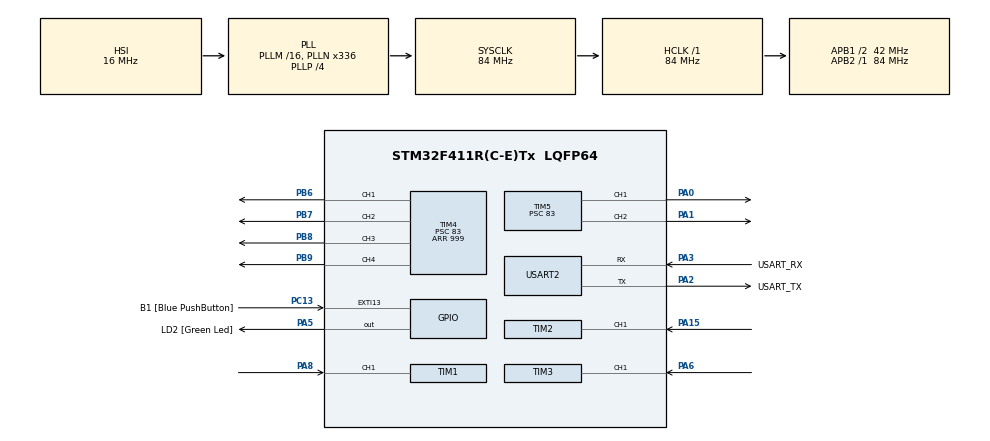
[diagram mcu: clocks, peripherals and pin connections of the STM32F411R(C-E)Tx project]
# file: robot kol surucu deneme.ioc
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Mcu.Family=STM32F4
Mcu.Name=STM32F411R(C-E)Tx
Mcu.Package=LQFP64
NVIC.PriorityGroup=NVIC_PRIORITYGROUP_0
NVIC.TIM1_CC_IRQn=true\:0\:0\:false\:false\:true\:true\:true\:true
NVIC.TIM2_IRQn=true\:0\:0\:false\:false\:true\:true\:true\:true
NVIC.TIM3_IRQn=true\:0\:0\:false\:false\:true\:true\:true\:true
PA0-WKUP.Signal=S_TIM5_CH1
PA1.Signal=S_TIM5_CH2
PA13.GPIO_Label=TMS
PA13.Mode=Serial_Wire
PA13.Signal=SYS_JTMS-SWDIO
PA14.GPIO_Label=TCK
PA14.Mode=Serial_Wire
PA14.Signal=SYS_JTCK-SWCLK
PA15.Signal=S_TIM2_CH1_ETR
PA2.GPIO_Label=USART_TX
PA2.Mode=Asynchronous
PA2.Signal=USART2_TX
PA3.GPIO_Label=USART_RX
PA3.Mode=Asynchronous
PA3.Signal=USART2_RX
PA5.GPIO_Label=LD2 [Green Led]
PA5.Signal=GPIO_Output
PA6.Signal=S_TIM3_CH1
PA8.Signal=S_TIM1_CH1
PB3.GPIO_Label=SWO
PB3.Signal=SYS_JTDO-SWO
PB6.Signal=S_TIM4_CH1
PB7.Signal=S_TIM4_CH2
PB8.Signal=S_TIM4_CH3
PB9.Signal=S_TIM4_CH4
PC13-ANTI_TAMP.GPIO_Label=B1 [Blue PushButton]
PC13-ANTI_TAMP.GPIO_ModeDefaultEXTI=GPIO_MODE_IT_FALLING
PC13-ANTI_TAMP.Signal=GPXTI13
PC14-OSC32_IN.Mode=LSE-External-Oscillator
PC14-OSC32_IN.Signal=RCC_OSC32_IN
PC15-OSC32_OUT.Mode=LSE-External-Oscillator
PC15-OSC32_OUT.Signal=RCC_OSC32_OUT
PH0\ -\ OSC_IN.Mode=HSE-External-Clock-Source
PH0\ -\ OSC_IN.Signal=RCC_OSC_IN
PH1\ -\ OSC_OUT.Mode=HSE-External-Clock-Source
PH1\ -\ OSC_OUT.Signal=RCC_OSC_OUT
ProjectManager.HeapSize=0x200
ProjectManager.StackSize=0x400
ProjectManager.TargetToolchain=STM32CubeIDE
RCC.48MHZClocksFreq_Value=84000000
RCC.AHBFreq_Value=84000000
RCC.APB1CLKDivider=RCC_HCLK_DIV2
RCC.APB1Freq_Value=42000000
RCC.APB1TimFreq_Value=84000000
RCC.APB2Freq_Value=84000000
RCC.APB2TimFreq_Value=84000000
RCC.CortexFreq_Value=84000000
RCC.FLatency-AdvancedSettings=FLASH_LATENCY_2
RCC.HCLKFreq_Value=84000000
RCC.HSE_VALUE=8000000
RCC.HSI_VALUE=16000000
RCC.PLLN=336
RCC.PLLP=RCC_PLLP_DIV4
RCC.SYSCLKFreq_VALUE=84000000
RCC.SYSCLKSource=RCC_SYSCLKSOURCE_PLLCLK
RCC.VCOOutputFreq_Value=336000000
SH.S_TIM1_CH1.0=TIM1_CH1,PWM_Input_1
SH.S_TIM2_CH1_ETR.0=TIM2_CH1,PWM_Input_1
SH.S_TIM3_CH1.0=TIM3_CH1,PWM_Input_1
SH.S_TIM4_CH1.0=TIM4_CH1,PWM Generation1 CH1
SH.S_TIM4_CH2.0=TIM4_CH2,PWM Generation2 CH2
SH.S_TIM4_CH3.0=TIM4_CH3,PWM Generation3 CH3
SH.S_TIM4_CH4.0=TIM4_CH4,PWM Generation4 CH4
SH.S_TIM5_CH1.0=TIM5_CH1,PWM Generation1 CH1
SH.S_TIM5_CH2.0=TIM5_CH2,PWM Generation2 CH2
TIM1.Prescaler=49
TIM3.Prescaler=49
TIM4.Channel-PWM\ Generation1\ CH1=TIM_CHANNEL_1
TIM4.Channel-PWM\ Generation2\ CH2=TIM_CHANNEL_2
TIM4.Channel-PWM\ Generation3\ CH3=TIM_CHANNEL_3
TIM4.Channel-PWM\ Generation4\ CH4=TIM_CHANNEL_4
TIM4.Period=999
TIM4.Prescaler=83
TIM5.Channel-PWM\ Generation1\ CH1=TIM_CHANNEL_1
TIM5.Channel-PWM\ Generation2\ CH2=TIM_CHANNEL_2
TIM5.Period=999
TIM5.Prescaler=83
USART2.VirtualMode=VM_ASYNC
VP_TIM1_VS_ClockSourceINT.Mode=Internal
VP_TIM2_VS_ClockSourceINT.Mode=Internal
VP_TIM3_VS_ClockSourceINT.Mode=Internal
board=NUCLEO-F411RE

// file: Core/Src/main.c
/* USER CODE BEGIN Header */
/**
  ******************************************************************************
  * @file           : main.c
  * @brief          : Main program body
  ******************************************************************************
  * @attention
  *
  * Copyright (c) 2025 STMicroelectronics.
  * All rights reserved.
  *
  * This software is licensed under terms that can be found in the LICENSE file
  * in the root directory of this software component.
  * If no LICENSE file comes with this software, it is provided AS-IS.
  *
  ******************************************************************************
  */
/* USER CODE END Header */
#include "main.h"

/* USER CODE BEGIN Includes */
#include "math.h"
#include "stdio.h"
#include "string.h"
/* USER CODE END Includes */

TIM_HandleTypeDef htim1;
TIM_HandleTypeDef htim2;
TIM_HandleTypeDef htim3;
TIM_HandleTypeDef htim4;
TIM_HandleTypeDef htim5;

UART_HandleTypeDef huart2;

/* USER CODE BEGIN PV */
int32_t frequency1, duty_cycle1, capture_value1;
int32_t capture_value2,frequency2, duty_cycle2;
int32_t  duty_cycle3,capture_value3,frequency3;
void HAL_TIM_IC_CaptureCallback(TIM_HandleTypeDef *htim) {// -250 ile 250 arasında veriyo olması lazım

	if (htim->Instance == TIM1) {  // For forward and backwards
		        if (htim->Channel == HAL_TIM_ACTIVE_CHANNEL_1) {
		            capture_value1 = HAL_TIM_ReadCapturedValue(htim, TIM_CHANNEL_1);
		            if (capture_value1) {
		                frequency1 = SystemCoreClock / capture_value1;
		                duty_cycle1 = ((10000 * HAL_TIM_ReadCapturedValue(htim, TIM_CHANNEL_2)) / capture_value1) -750;
		            }
		        }
		    }
	if (htim->Instance == TIM2) {  // For left and right
		        if (htim->Channel == HAL_TIM_ACTIVE_CHANNEL_1) {
		            capture_value2 = HAL_TIM_ReadCapturedValue(htim, TIM_CHANNEL_1);
		            if (capture_value2) {
		                frequency2 = SystemCoreClock / capture_value2;
		                duty_cycle2 = ((10000 * HAL_TIM_ReadCapturedValue(htim, TIM_CHANNEL_2)) / capture_value2) -750;
		            }
		        }
		    }
	if (htim->Instance == TIM3) {  // For left and right
			        if (htim->Channel == HAL_TIM_ACTIVE_CHANNEL_1) {
			            capture_value3 = HAL_TIM_ReadCapturedValue(htim, TIM_CHANNEL_1);
			            if (capture_value3) {
			                frequency3 = SystemCoreClock / capture_value3;
			                duty_cycle3 = ((10000 * HAL_TIM_ReadCapturedValue(htim, TIM_CHANNEL_2)) / capture_value3) -750;
			            }
			        }
			    }
}
/* --- PWM Ayarı --- */
void setPWM(TIM_HandleTypeDef *htim1, uint32_t channel1, uint32_t channel2, int16_t pwmvalue) {

	if (pwmvalue >= 10 && pwmvalue <= 1000) {
        __HAL_TIM_SET_COMPARE(htim1, channel1, fabs(pwmvalue));
        __HAL_TIM_SET_COMPARE(htim1, channel2, 0);
    }

    else if(pwmvalue >= -1000 && pwmvalue < -10 ) {
        __HAL_TIM_SET_COMPARE(htim1, channel1, 0);
        __HAL_TIM_SET_COMPARE(htim1, channel2, fabs(pwmvalue));
    }

    else if(pwmvalue > 1000 ) {
        __HAL_TIM_SET_COMPARE(htim1, channel1, 1000);
        __HAL_TIM_SET_COMPARE(htim1, channel2, 0);
    }

    else if(pwmvalue < -1000 ) {
        __HAL_TIM_SET_COMPARE(htim1, channel1, 0);
        __HAL_TIM_SET_COMPARE(htim1, channel2, 1000);
    }

    else {

    }
}

/* USER CODE END PV */

void SystemClock_Config(void);
static void MX_GPIO_Init(void);
static void MX_USART2_UART_Init(void);
static void MX_TIM1_Init(void);
static void MX_TIM2_Init(void);
static void MX_TIM3_Init(void);
static void MX_TIM4_Init(void);
static void MX_TIM5_Init(void);

/* USER CODE BEGIN 0 */
int16_t B_PWM=0;
int16_t S_PWM=0;
int16_t E_PWM=0;
/* USER CODE END 0 */

int main(void)
{

  /* MCU Configuration--------------------------------------------------------*/

  /* Reset of all peripherals, Initializes the Flash interface and the Systick. */
  HAL_Init();

  /* Configure the system clock */
  SystemClock_Config();

  /* Initialize all configured peripherals */
  MX_GPIO_Init();
  MX_USART2_UART_Init();
  MX_TIM1_Init();
  MX_TIM2_Init();
  MX_TIM3_Init();
  MX_TIM4_Init();
  MX_TIM5_Init();

  /* Infinite loop */
  while (1)
  {

    /* USER CODE BEGIN 3 */

	  B_PWM = duty_cycle1*2;
	  S_PWM = duty_cycle3*2;
	  E_PWM = duty_cycle2*2;

	  //BASE
	  setPWM(&htim4, TIM_CHANNEL_1, TIM_CHANNEL_2, B_PWM);

	  //SHOULDER
	  setPWM(&htim4, TIM_CHANNEL_3, TIM_CHANNEL_4, S_PWM);

	  //ELBOW
	  setPWM(&htim5, TIM_CHANNEL_1, TIM_CHANNEL_2, E_PWM);
  }
  /* USER CODE END 3 */
}

void SystemClock_Config(void)
{
  RCC_OscInitTypeDef RCC_OscInitStruct = {0};
  RCC_ClkInitTypeDef RCC_ClkInitStruct = {0};

  /** Configure the main internal regulator output voltage
  */
  __HAL_RCC_PWR_CLK_ENABLE();
  __HAL_PWR_VOLTAGESCALING_CONFIG(PWR_REGULATOR_VOLTAGE_SCALE1);

  /** Initializes the RCC Oscillators according to the specified parameters
  * in the RCC_OscInitTypeDef structure.
  */
  RCC_OscInitStruct.OscillatorType = RCC_OSCILLATORTYPE_HSI;
  RCC_OscInitStruct.HSIState = RCC_HSI_ON;
  RCC_OscInitStruct.HSICalibrationValue = RCC_HSICALIBRATION_DEFAULT;
  RCC_OscInitStruct.PLL.PLLState = RCC_PLL_ON;
  RCC_OscInitStruct.PLL.PLLSource = RCC_PLLSOURCE_HSI;
  RCC_OscInitStruct.PLL.PLLM = 16;
  RCC_OscInitStruct.PLL.PLLN = 336;
  RCC_OscInitStruct.PLL.PLLP = RCC_PLLP_DIV4;
  RCC_OscInitStruct.PLL.PLLQ = 4;
  if (HAL_RCC_OscConfig(&RCC_OscInitStruct) != HAL_OK)
  {
    Error_Handler();
  }

  /** Initializes the CPU, AHB and APB buses clocks
  */
  RCC_ClkInitStruct.ClockType = RCC_CLOCKTYPE_HCLK|RCC_CLOCKTYPE_SYSCLK
                              |RCC_CLOCKTYPE_PCLK1|RCC_CLOCKTYPE_PCLK2;
  RCC_ClkInitStruct.SYSCLKSource = RCC_SYSCLKSOURCE_PLLCLK;
  RCC_ClkInitStruct.AHBCLKDivider = RCC_SYSCLK_DIV1;
  RCC_ClkInitStruct.APB1CLKDivider = RCC_HCLK_DIV2;
  RCC_ClkInitStruct.APB2CLKDivider = RCC_HCLK_DIV1;

  if (HAL_RCC_ClockConfig(&RCC_ClkInitStruct, FLASH_LATENCY_2) != HAL_OK)
  {
    Error_Handler();
  }
}

static void MX_TIM1_Init(void)
{

  TIM_ClockConfigTypeDef sClockSourceConfig = {0};
  TIM_SlaveConfigTypeDef sSlaveConfig = {0};
  TIM_IC_InitTypeDef sConfigIC = {0};
  TIM_MasterConfigTypeDef sMasterConfig = {0};

  htim1.Instance = TIM1;
  htim1.Init.Prescaler = 49;
  htim1.Init.CounterMode = TIM_COUNTERMODE_UP;
  htim1.Init.Period = 65535;
  htim1.Init.ClockDivision = TIM_CLOCKDIVISION_DIV1;
  htim1.Init.RepetitionCounter = 0;
  htim1.Init.AutoReloadPreload = TIM_AUTORELOAD_PRELOAD_DISABLE;
  if (HAL_TIM_Base_Init(&htim1) != HAL_OK)
  {
    Error_Handler();
  }
  sClockSourceConfig.ClockSource = TIM_CLOCKSOURCE_INTERNAL;
  if (HAL_TIM_ConfigClockSource(&htim1, &sClockSourceConfig) != HAL_OK)
  {
    Error_Handler();
  }
  if (HAL_TIM_IC_Init(&htim1) != HAL_OK)
  {
    Error_Handler();
  }
  sSlaveConfig.SlaveMode = TIM_SLAVEMODE_RESET;
  sSlaveConfig.InputTrigger = TIM_TS_TI1FP1;
  sSlaveConfig.TriggerPolarity = TIM_INPUTCHANNELPOLARITY_RISING;
  sSlaveConfig.TriggerPrescaler = TIM_ICPSC_DIV1;
  sSlaveConfig.TriggerFilter = 0;
  if (HAL_TIM_SlaveConfigSynchro(&htim1, &sSlaveConfig) != HAL_OK)
  {
    Error_Handler();
  }
  sConfigIC.ICPolarity = TIM_INPUTCHANNELPOLARITY_RISING;
  sConfigIC.ICSelection = TIM_ICSELECTION_DIRECTTI;
  sConfigIC.ICPrescaler = TIM_ICPSC_DIV1;
  sConfigIC.ICFilter = 0;
  if (HAL_TIM_IC_ConfigChannel(&htim1, &sConfigIC, TIM_CHANNEL_1) != HAL_OK)
  {
    Error_Handler();
  }
  sConfigIC.ICPolarity = TIM_INPUTCHANNELPOLARITY_FALLING;
  sConfigIC.ICSelection = TIM_ICSELECTION_INDIRECTTI;
  if (HAL_TIM_IC_ConfigChannel(&htim1, &sConfigIC, TIM_CHANNEL_2) != HAL_OK)
  {
    Error_Handler();
  }
  sMasterConfig.MasterOutputTrigger = TIM_TRGO_RESET;
  sMasterConfig.MasterSlaveMode = TIM_MASTERSLAVEMODE_DISABLE;
  if (HAL_TIMEx_MasterConfigSynchronization(&htim1, &sMasterConfig) != HAL_OK)
  {
    Error_Handler();
  }
  /* USER CODE BEGIN TIM1_Init 2 */
  HAL_TIM_IC_Start_IT(&htim1, TIM_CHANNEL_1);
    HAL_TIM_IC_Start_IT(&htim1, TIM_CHANNEL_2);

  /* USER CODE END TIM1_Init 2 */

}

static void MX_TIM2_Init(void)
{

  TIM_ClockConfigTypeDef sClockSourceConfig = {0};
  TIM_SlaveConfigTypeDef sSlaveConfig = {0};
  TIM_IC_InitTypeDef sConfigIC = {0};
  TIM_MasterConfigTypeDef sMasterConfig = {0};

  htim2.Instance = TIM2;
  htim2.Init.Prescaler = 0;
  htim2.Init.CounterMode = TIM_COUNTERMODE_UP;
  htim2.Init.Period = 4294967295;
  htim2.Init.ClockDivision = TIM_CLOCKDIVISION_DIV1;
  htim2.Init.AutoReloadPreload = TIM_AUTORELOAD_PRELOAD_DISABLE;
  if (HAL_TIM_Base_Init(&htim2) != HAL_OK)
  {
    Error_Handler();
  }
  sClockSourceConfig.ClockSource = TIM_CLOCKSOURCE_INTERNAL;
  if (HAL_TIM_ConfigClockSource(&htim2, &sClockSourceConfig) != HAL_OK)
  {
    Error_Handler();
  }
  if (HAL_TIM_IC_Init(&htim2) != HAL_OK)
  {
    Error_Handler();
  }
  sSlaveConfig.SlaveMode = TIM_SLAVEMODE_RESET;
  sSlaveConfig.InputTrigger = TIM_TS_TI1FP1;
  sSlaveConfig.TriggerPolarity = TIM_INPUTCHANNELPOLARITY_RISING;
  sSlaveConfig.TriggerPrescaler = TIM_ICPSC_DIV1;
  sSlaveConfig.TriggerFilter = 0;
  if (HAL_TIM_SlaveConfigSynchro(&htim2, &sSlaveConfig) != HAL_OK)
  {
    Error_Handler();
  }
  sConfigIC.ICPolarity = TIM_INPUTCHANNELPOLARITY_RISING;
  sConfigIC.ICSelection = TIM_ICSELECTION_DIRECTTI;
  sConfigIC.ICPrescaler = TIM_ICPSC_DIV1;
  sConfigIC.ICFilter = 0;
  if (HAL_TIM_IC_ConfigChannel(&htim2, &sConfigIC, TIM_CHANNEL_1) != HAL_OK)
  {
    Error_Handler();
  }
  sConfigIC.ICPolarity = TIM_INPUTCHANNELPOLARITY_FALLING;
  sConfigIC.ICSelection = TIM_ICSELECTION_INDIRECTTI;
  if (HAL_TIM_IC_ConfigChannel(&htim2, &sConfigIC, TIM_CHANNEL_2) != HAL_OK)
  {
    Error_Handler();
  }
  sMasterConfig.MasterOutputTrigger = TIM_TRGO_RESET;
  sMasterConfig.MasterSlaveMode = TIM_MASTERSLAVEMODE_DISABLE;
  if (HAL_TIMEx_MasterConfigSynchronization(&htim2, &sMasterConfig) != HAL_OK)
  {
    Error_Handler();
  }
  /* USER CODE BEGIN TIM2_Init 2 */
  HAL_TIM_IC_Start_IT(&htim2, TIM_CHANNEL_1);
    HAL_TIM_IC_Start_IT(&htim2, TIM_CHANNEL_2);

  /* USER CODE END TIM2_Init 2 */

}

static void MX_TIM3_Init(void)
{

  TIM_ClockConfigTypeDef sClockSourceConfig = {0};
  TIM_SlaveConfigTypeDef sSlaveConfig = {0};
  TIM_IC_InitTypeDef sConfigIC = {0};
  TIM_MasterConfigTypeDef sMasterConfig = {0};

  htim3.Instance = TIM3;
  htim3.Init.Prescaler = 49;
  htim3.Init.CounterMode = TIM_COUNTERMODE_UP;
  htim3.Init.Period = 65535;
  htim3.Init.ClockDivision = TIM_CLOCKDIVISION_DIV1;
  htim3.Init.AutoReloadPreload = TIM_AUTORELOAD_PRELOAD_DISABLE;
  if (HAL_TIM_Base_Init(&htim3) != HAL_OK)
  {
    Error_Handler();
  }
  sClockSourceConfig.ClockSource = TIM_CLOCKSOURCE_INTERNAL;
  if (HAL_TIM_ConfigClockSource(&htim3, &sClockSourceConfig) != HAL_OK)
  {
    Error_Handler();
  }
  if (HAL_TIM_IC_Init(&htim3) != HAL_OK)
  {
    Error_Handler();
  }
  sSlaveConfig.SlaveMode = TIM_SLAVEMODE_RESET;
  sSlaveConfig.InputTrigger = TIM_TS_TI1FP1;
  sSlaveConfig.TriggerPolarity = TIM_INPUTCHANNELPOLARITY_RISING;
  sSlaveConfig.TriggerPrescaler = TIM_ICPSC_DIV1;
  sSlaveConfig.TriggerFilter = 0;
  if (HAL_TIM_SlaveConfigSynchro(&htim3, &sSlaveConfig) != HAL_OK)
  {
    Error_Handler();
  }
  sConfigIC.ICPolarity = TIM_INPUTCHANNELPOLARITY_RISING;
  sConfigIC.ICSelection = TIM_ICSELECTION_DIRECTTI;
  sConfigIC.ICPrescaler = TIM_ICPSC_DIV1;
  sConfigIC.ICFilter = 0;
  if (HAL_TIM_IC_ConfigChannel(&htim3, &sConfigIC, TIM_CHANNEL_1) != HAL_OK)
  {
    Error_Handler();
  }
  sConfigIC.ICPolarity = TIM_INPUTCHANNELPOLARITY_FALLING;
  sConfigIC.ICSelection = TIM_ICSELECTION_INDIRECTTI;
  if (HAL_TIM_IC_ConfigChannel(&htim3, &sConfigIC, TIM_CHANNEL_2) != HAL_OK)
  {
    Error_Handler();
  }
  sMasterConfig.MasterOutputTrigger = TIM_TRGO_RESET;
  sMasterConfig.MasterSlaveMode = TIM_MASTERSLAVEMODE_DISABLE;
  if (HAL_TIMEx_MasterConfigSynchronization(&htim3, &sMasterConfig) != HAL_OK)
  {
    Error_Handler();
  }
  /* USER CODE BEGIN TIM3_Init 2 */
  HAL_TIM_IC_Start_IT(&htim3, TIM_CHANNEL_1);
    HAL_TIM_IC_Start_IT(&htim3, TIM_CHANNEL_2);

  /* USER CODE END TIM3_Init 2 */

}

static void MX_TIM4_Init(void)
{

  TIM_MasterConfigTypeDef sMasterConfig = {0};
  TIM_OC_InitTypeDef sConfigOC = {0};

  htim4.Instance = TIM4;
  htim4.Init.Prescaler = 83;
  htim4.Init.CounterMode = TIM_COUNTERMODE_UP;
  htim4.Init.Period = 999;
  htim4.Init.ClockDivision = TIM_CLOCKDIVISION_DIV1;
  htim4.Init.AutoReloadPreload = TIM_AUTORELOAD_PRELOAD_DISABLE;
  if (HAL_TIM_PWM_Init(&htim4) != HAL_OK)
  {
    Error_Handler();
  }
  sMasterConfig.MasterOutputTrigger = TIM_TRGO_RESET;
  sMasterConfig.MasterSlaveMode = TIM_MASTERSLAVEMODE_DISABLE;
  if (HAL_TIMEx_MasterConfigSynchronization(&htim4, &sMasterConfig) != HAL_OK)
  {
    Error_Handler();
  }
  sConfigOC.OCMode = TIM_OCMODE_PWM1;
  sConfigOC.Pulse = 0;
  sConfigOC.OCPolarity = TIM_OCPOLARITY_HIGH;
  sConfigOC.OCFastMode = TIM_OCFAST_DISABLE;
  if (HAL_TIM_PWM_ConfigChannel(&htim4, &sConfigOC, TIM_CHANNEL_1) != HAL_OK)
  {
    Error_Handler();
  }
  if (HAL_TIM_PWM_ConfigChannel(&htim4, &sConfigOC, TIM_CHANNEL_2) != HAL_OK)
  {
    Error_Handler();
  }
  if (HAL_TIM_PWM_ConfigChannel(&htim4, &sConfigOC, TIM_CHANNEL_3) != HAL_OK)
  {
    Error_Handler();
  }
  if (HAL_TIM_PWM_ConfigChannel(&htim4, &sConfigOC, TIM_CHANNEL_4) != HAL_OK)
  {
    Error_Handler();
  }
  /* USER CODE BEGIN TIM4_Init 2 */
  HAL_TIM_PWM_Start(&htim4, TIM_CHANNEL_1);
  HAL_TIM_PWM_Start(&htim4, TIM_CHANNEL_2);
  HAL_TIM_PWM_Start(&htim4, TIM_CHANNEL_3);
  HAL_TIM_PWM_Start(&htim4, TIM_CHANNEL_4);
  /* USER CODE END TIM4_Init 2 */
  HAL_TIM_MspPostInit(&htim4);

}

static void MX_TIM5_Init(void)
{

  TIM_MasterConfigTypeDef sMasterConfig = {0};
  TIM_OC_InitTypeDef sConfigOC = {0};

  htim5.Instance = TIM5;
  htim5.Init.Prescaler = 83;
  htim5.Init.CounterMode = TIM_COUNTERMODE_UP;
  htim5.Init.Period = 999;
  htim5.Init.ClockDivision = TIM_CLOCKDIVISION_DIV1;
  htim5.Init.AutoReloadPreload = TIM_AUTORELOAD_PRELOAD_DISABLE;
  if (HAL_TIM_PWM_Init(&htim5) != HAL_OK)
  {
    Error_Handler();
  }
  sMasterConfig.MasterOutputTrigger = TIM_TRGO_RESET;
  sMasterConfig.MasterSlaveMode = TIM_MASTERSLAVEMODE_DISABLE;
  if (HAL_TIMEx_MasterConfigSynchronization(&htim5, &sMasterConfig) != HAL_OK)
  {
    Error_Handler();
  }
  sConfigOC.OCMode = TIM_OCMODE_PWM1;
  sConfigOC.Pulse = 0;
  sConfigOC.OCPolarity = TIM_OCPOLARITY_HIGH;
  sConfigOC.OCFastMode = TIM_OCFAST_DISABLE;
  if (HAL_TIM_PWM_ConfigChannel(&htim5, &sConfigOC, TIM_CHANNEL_1) != HAL_OK)
  {
    Error_Handler();
  }
  if (HAL_TIM_PWM_ConfigChannel(&htim5, &sConfigOC, TIM_CHANNEL_2) != HAL_OK)
  {
    Error_Handler();
  }
  /* USER CODE BEGIN TIM5_Init 2 */
  HAL_TIM_PWM_Start(&htim5, TIM_CHANNEL_1);
  HAL_TIM_PWM_Start(&htim5, TIM_CHANNEL_2);

  /* USER CODE END TIM5_Init 2 */
  HAL_TIM_MspPostInit(&htim5);

}

static void MX_USART2_UART_Init(void)
{

  huart2.Instance = USART2;
  huart2.Init.BaudRate = 115200;
  huart2.Init.WordLength = UART_WORDLENGTH_8B;
  huart2.Init.StopBits = UART_STOPBITS_1;
  huart2.Init.Parity = UART_PARITY_NONE;
  huart2.Init.Mode = UART_MODE_TX_RX;
  huart2.Init.HwFlowCtl = UART_HWCONTROL_NONE;
  huart2.Init.OverSampling = UART_OVERSAMPLING_16;
  if (HAL_UART_Init(&huart2) != HAL_OK)
  {
    Error_Handler();
  }

}

static void MX_GPIO_Init(void)
{
  GPIO_InitTypeDef GPIO_InitStruct = {0};

  /* GPIO Ports Clock Enable */
  __HAL_RCC_GPIOC_CLK_ENABLE();
  __HAL_RCC_GPIOH_CLK_ENABLE();
  __HAL_RCC_GPIOA_CLK_ENABLE();
  __HAL_RCC_GPIOB_CLK_ENABLE();

  /*Configure GPIO pin Output Level */
  HAL_GPIO_WritePin(LD2_GPIO_Port, LD2_Pin, GPIO_PIN_RESET);

  /*Configure GPIO pin : B1_Pin */
  GPIO_InitStruct.Pin = B1_Pin;
  GPIO_InitStruct.Mode = GPIO_MODE_IT_FALLING;
  GPIO_InitStruct.Pull = GPIO_NOPULL;
  HAL_GPIO_Init(B1_GPIO_Port, &GPIO_InitStruct);

  /*Configure GPIO pin : LD2_Pin */
  GPIO_InitStruct.Pin = LD2_Pin;
  GPIO_InitStruct.Mode = GPIO_MODE_OUTPUT_PP;
  GPIO_InitStruct.Pull = GPIO_NOPULL;
  GPIO_InitStruct.Speed = GPIO_SPEED_FREQ_LOW;
  HAL_GPIO_Init(LD2_GPIO_Port, &GPIO_InitStruct);

}

void Error_Handler(void)
{
  __disable_irq();
  while (1)
  {
  }
}
